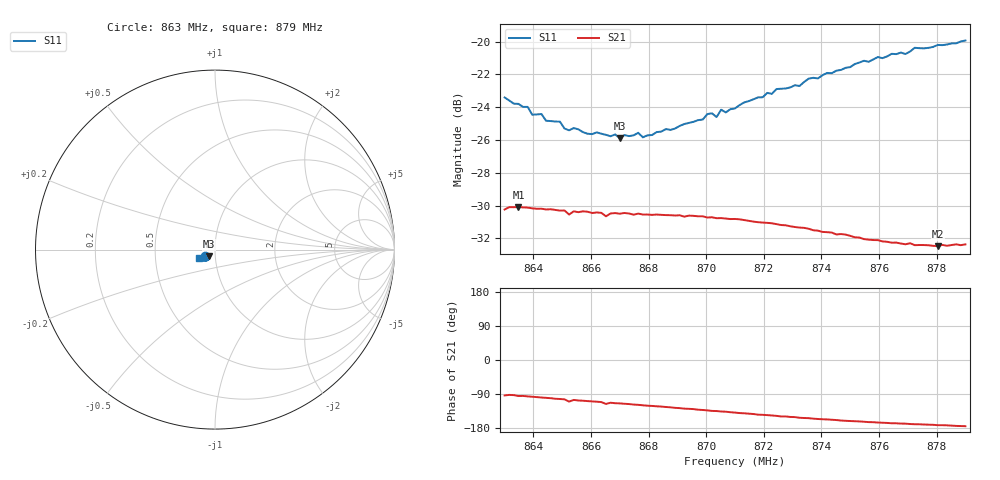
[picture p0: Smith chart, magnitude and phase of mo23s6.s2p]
# HZ S RI R 50
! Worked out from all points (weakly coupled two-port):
!   101 points, 863 MHz to 879 MHz, reference 50 ohm
!   highest |S21| = -30.09 dB at 863.48 MHz (marker M1); lowest = -32.5 dB at 878.04 MHz (marker M2)
!   lowest |S11| = -25.9 dB at 867 MHz (marker M3), VSWR 1.11, Z = 46.5 - j3.4 ohm
!   |S11| at or under -10 dB: start of sweep to end of sweep
!   S12 and S22 are empty: the file has one direction only
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8.63e8  -0.0568 -0.0366  -0.00191 -0.0307  0 0  0 0
8.6348e8  -0.0533 -0.0365  -0.00274 -0.0312  0 0  0 0
8.638e8  -0.0519 -0.0361  -0.00325 -0.031  0 0  0 0
8.6396e8  -0.0488 -0.0346  -0.00374 -0.0308  0 0  0 0
8.6492e8  -0.0451 -0.035  -0.00683 -0.0298  0 0  0 0
8.6524e8  -0.042 -0.0334  -0.01 -0.028  0 0  0 0
8.6572e8  -0.0394 -0.0354  -0.00912 -0.029  0 0  0 0
8.6652e8  -0.037 -0.0365  -0.0129 -0.0264  0 0  0 0
8.67e8  -0.0353 -0.0364  -0.0124 -0.0272  0 0  0 0
8.6844e8  -0.0324 -0.0422  -0.0161 -0.0249  0 0  0 0
8.6988e8  -0.0316 -0.0485  -0.0196 -0.0218  0 0  0 0
8.7004e8  -0.0331 -0.0503  -0.0198 -0.0213  0 0  0 0
8.7036e8  -0.0317 -0.0497  -0.0204 -0.0206  0 0  0 0
8.7052e8  -0.0346 -0.0515  -0.0208 -0.0202  0 0  0 0
8.7068e8  -0.0325 -0.0515  -0.0209 -0.0199  0 0  0 0
8.71e8  -0.0348 -0.052  -0.0217 -0.019  0 0  0 0
8.7244e8  -0.0416 -0.0584  -0.0234 -0.015  0 0  0 0
8.7324e8  -0.0437 -0.0588  -0.024 -0.0126  0 0  0 0
8.7372e8  -0.0478 -0.0611  -0.0241 -0.0113  0 0  0 0
8.7644e8  -0.0695 -0.06  -0.0238 -0.00549  0 0  0 0
8.7804e8  -0.0827 -0.0521  -0.0236 -0.00331  0 0  0 0
8.79e8  -0.0902 -0.0451  -0.024 -0.00223  0 0  0 0
